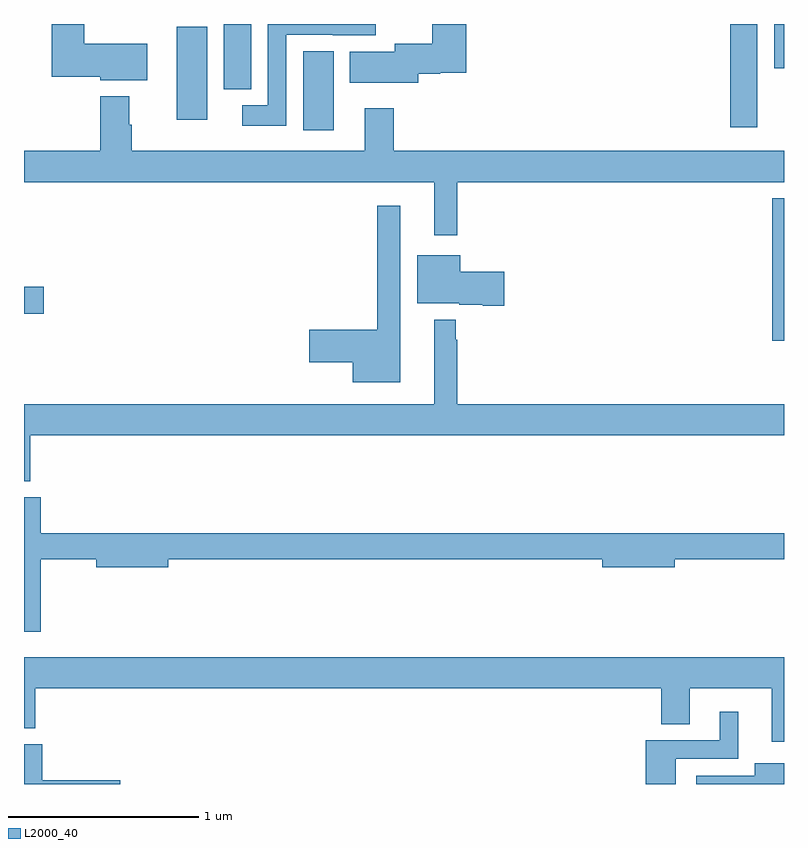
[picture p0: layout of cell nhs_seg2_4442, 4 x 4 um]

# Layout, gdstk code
import gdstk
lib = gdstk.Library(unit=1e-6, precision=1e-09)
def R(c, l, rs):  # rectangles x0, y0, x1, y1
    for r in rs: c.add(gdstk.rectangle(r[:2], r[2:], *l))
def P(c, l, *ps):  # polygons
    for p in ps: c.add(gdstk.Polygon(p, *l))
L2000_40 = (2000, 40)

nhs_seg2_4442 = lib.new_cell('nhs_seg2_4442')
R(nhs_seg2_4442, L2000_40, [(354.938,648.132,355,648.883), (351,648.274,351.103,648.416), (352.469,649.242,352.63,649.657), (354.716,649.257,354.859,649.8), (351.803,649.296,351.964,649.786), (352.052,649.457,352.195,649.8), (354.948,649.566,355,649.8)])
P(nhs_seg2_4442, L2000_40, [(351.649,649.696),(351.316,649.696),(351.316,649.8),(351.146,649.8),(351.146,649.523),(351.402,649.523),(351.402,649.505),(351.649,649.505)],
  [(353.074,649.537),(353.19,649.537),(353.19,649.544),(353.327,649.544),(353.327,649.8),(353.149,649.8),(353.149,649.697),(352.952,649.697),(352.952,649.654),(352.715,649.654),(352.715,649.49),(353.074,649.49)],
  [(352.38,649.743),(352.626,649.743),(352.626,649.742),(352.852,649.742),(352.852,649.8),(352.284,649.8),(352.284,649.372),(352.149,649.372),(352.149,649.265),(352.38,649.265)],
  [(353.281,648.968),(355,648.968),(355,649.132),(352.946,649.132),(352.946,649.357),(352.793,649.357),(352.793,649.132),(351.566,649.132),(351.566,649.271),(351.553,649.271),(351.553,649.42),(351.401,649.42),(351.401,649.132),(351,649.132),(351,648.968),(353.159,648.968),(353.159,648.687),(353.281,648.687)],
  [(352.981,648.844),(352.86,648.844),(352.86,648.191),(352.5,648.191),(352.5,648.02),(352.73,648.02),(352.73,647.915),(352.981,647.915)],
  [(353.527,648.495),(353.296,648.495),(353.296,648.583),(353.069,648.583),(353.069,648.329),(353.292,648.329),(353.292,648.323),(353.414,648.323),(353.414,648.317),(353.527,648.317)],
  [(351.032,647.636),(355,647.636),(355,647.8),(353.281,647.8),(353.281,648.137),(353.273,648.137),(353.273,648.244),(353.159,648.244),(353.159,647.8),(351,647.8),(351,647.393),(351.032,647.393)],
  [(351.089,646.984),(351.38,646.984),(351.38,646.942),(351.76,646.942),(351.76,646.984),(354.044,646.984),(354.044,646.942),(354.424,646.942),(354.424,646.984),(355,646.984),(355,647.12),(351.089,647.12),(351.089,647.308),(351,647.308),(351,646.601),(351.089,646.601)],
  [(355,646.468),(351,646.468),(351,646.094),(351.059,646.094),(351.059,646.304),(354.353,646.304),(354.353,646.114),(354.505,646.114),(354.505,646.304),(354.935,646.304),(354.935,646.023),(355,646.023)],
  [(354.43,645.933),(354.76,645.933),(354.76,646.18),(354.662,646.18),(354.662,646.029),(354.272,646.029),(354.272,645.8),(354.43,645.8)],
  [(351.507,645.82),(351.095,645.82),(351.095,646.009),(351,646.009),(351,645.8),(351.507,645.8)],
  [(355,645.91),(354.845,645.91),(354.845,645.843),(354.537,645.843),(354.537,645.8),(355,645.8)])

lib.write_gds('nhs_seg2_4442.gds')
